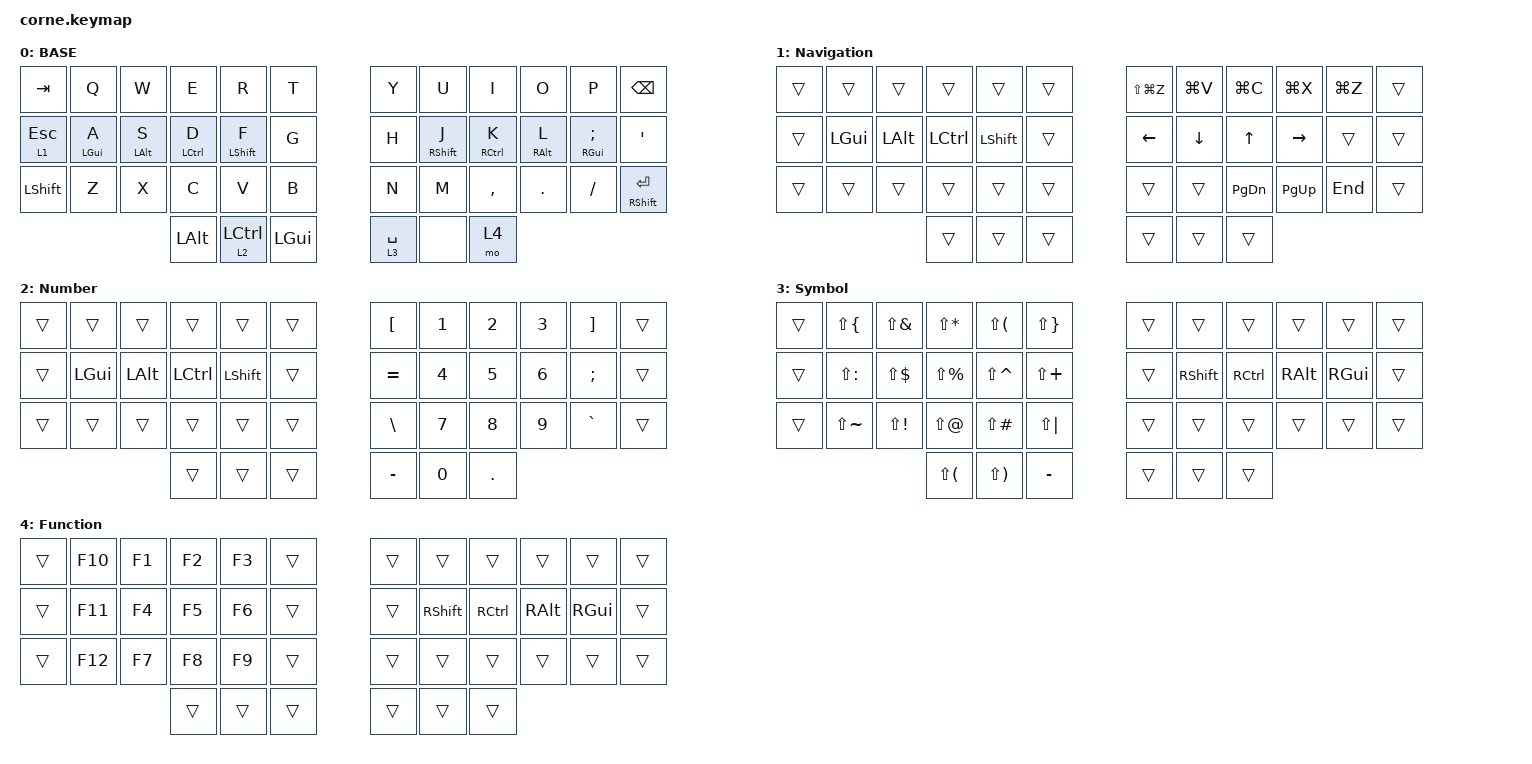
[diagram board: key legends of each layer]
/*
 * Copyright (c) 2020 The ZMK Contributors
 *
 * SPDX-License-Identifier: MIT
 */
//
//   Miryoku-style layout — QWERTY base, vim arrows (HJKL), GACS home row mods
//   Adapted from TOTEM config for Corne (42-key)
//
//   Layer 0: BASE    — QWERTY + home row mods
//   Layer 1: NAV     — vim arrows, clipboard, nav (hold SPACE)
//   Layer 2: NUM     — numpad left hand (hold BSPC)
//   Layer 3: MEDIA   — media, BT, RGB (hold ESC)
//   Layer 4: SYM     — symbols left hand (hold ENTER)
//   Layer 5: FUN     — function keys left hand (hold DEL)
//   Layer 6: MOUSE   — mouse movement, scroll, buttons (hold TAB)

#include <behaviors.dtsi>
#include <dt-bindings/zmk/keys.h>

#define BASE  0
#define NAV   1
#define NUM   2
#define MEDIA 3
#define SYM   4
#define FUN   5
#define MOUSE 6

// Corne key positions (42 keys):
// Row 0:  0  1  2  3  4  5    6  7  8  9  10  11
// Row 1: 12 13 14 15 16 17   18 19 20 21  22  23
// Row 2: 24 25 26 27 28 29   30 31 32 33  34  35
// Thumb:          36 37 38   39 40 41

&mt {
    flavor = "tap-preferred";
    tapping-term-ms = <200>;
    quick-tap-ms = <175>;
    require-prior-idle-ms = <150>;
};

&lt {
    flavor = "balanced";
    tapping-term-ms = <200>;
    quick-tap-ms = <175>;
};

/ {
    combos {
        compatible = "zmk,combos";

        // -- Tier 1: Essential --

        combo_caps_word {
            bindings = <&caps_word>;
            key-positions = <16 19>;        // F + J (index home row)
            timeout-ms = <30>;
            require-prior-idle-ms = <150>;
        };

        combo_esc {
            bindings = <&kp ESC>;
            key-positions = <2 3>;          // W + E
            timeout-ms = <30>;
            require-prior-idle-ms = <150>;
        };

        combo_bspc {
            bindings = <&kp BSPC>;
            key-positions = <8 9>;          // I + O
            timeout-ms = <30>;
            require-prior-idle-ms = <150>;
        };

        combo_del {
            bindings = <&kp DEL>;
            key-positions = <9 10>;         // O + P
            timeout-ms = <30>;
            require-prior-idle-ms = <150>;
        };

        // -- Tier 2: High Value --

        combo_tab {
            bindings = <&kp TAB>;
            key-positions = <14 15>;        // S + D
            timeout-ms = <30>;
            require-prior-idle-ms = <150>;
        };

        combo_enter {
            bindings = <&kp RET>;
            key-positions = <20 21>;        // K + L
            timeout-ms = <30>;
            require-prior-idle-ms = <150>;
        };

        combo_copy {
            bindings = <&kp LG(C)>;
            key-positions = <26 27>;        // X + C
            timeout-ms = <30>;
            require-prior-idle-ms = <150>;
        };

        combo_paste {
            bindings = <&kp LG(V)>;
            key-positions = <27 28>;        // C + V
            timeout-ms = <30>;
            require-prior-idle-ms = <150>;
        };

        combo_cut {
            bindings = <&kp LG(X)>;
            key-positions = <26 28>;        // X + V (skip middle)
            timeout-ms = <30>;
            require-prior-idle-ms = <150>;
        };

        // -- Tier 3: Vertical Symbol Combos --

        combo_minus {
            bindings = <&kp MINUS>;
            key-positions = <19 31>;        // J + M (right index vertical)
            timeout-ms = <40>;
            require-prior-idle-ms = <100>;
        };

        combo_underscore {
            bindings = <&kp UNDER>;
            key-positions = <18 30>;        // H + N (right inner vertical)
            timeout-ms = <40>;
            require-prior-idle-ms = <100>;
        };

        combo_equal {
            bindings = <&kp EQUAL>;
            key-positions = <16 28>;        // F + V (left index vertical)
            timeout-ms = <40>;
            require-prior-idle-ms = <100>;
        };

        combo_grave {
            bindings = <&kp GRAVE>;
            key-positions = <14 26>;        // S + X (left ring vertical)
            timeout-ms = <40>;
            require-prior-idle-ms = <100>;
        };

        combo_semi {
            bindings = <&kp SEMI>;
            key-positions = <21 22>;        // L + ' (right ring+pinky home)
            timeout-ms = <30>;
            require-prior-idle-ms = <150>;
        };

        combo_r-bracket {
            bindings = <&kp RPAR>;
            key-positions = <6 7>;
        };

        combo_r-block {
            bindings = <&kp RIGHT_BRACKET>;
            key-positions = <18 19>;
        };

        combo_r-squirly {
            bindings = <&kp RIGHT_BRACE>;
            key-positions = <30 31>;
        };

        combo_l-bracket {
            bindings = <&kp LPAR>;
            key-positions = <5 4>;
        };

        combo_l-block {
            bindings = <&kp LBKT>;
            key-positions = <17 16>;
        };

        combo_l-squirly {
            bindings = <&kp LBRC>;
            key-positions = <28 29>;
        };

        combo_escape {
            bindings = <&kp ESC>;
            key-positions = <19 20>;
        };

        combo_tilde {
            bindings = <&kp TILDE>;
            key-positions = <21 22>;
        };

        combo_backslash {
            bindings = <&kp BSLH>;
            key-positions = <33 34>;
        };
    };

    macros {
        hyper: hyper {
            compatible = "zmk,behavior-macro";
            #binding-cells = <0>;
            bindings =
                <&macro_press>,
                <&kp LGUI &kp LALT &kp LCTRL &kp LSHFT>,
                <&macro_pause_for_release>,
                <&macro_release>,
                <&kp LGUI &kp LALT &kp LCTRL &kp LSHFT>;
        };
    };

    keymap {
        compatible = "zmk,keymap";

        base_layer {
            display-name = "BASE";
            bindings = <
&kp TAB    &kp Q       &kp W       &kp E         &kp R        &kp T     &kp Y        &kp U        &kp I        &kp O       &kp P               &kp BSPC
&lt 1 ESC  &mt LGUI A  &mt LALT S  &mt LCTRL D   &mt LSHFT F  &kp G     &kp H        &mt RSHFT J  &mt RCTRL K  &mt RALT L  &mt RGUI SEMICOLON  &kp SINGLE_QUOTE
&kp LSHFT  &kp Z       &kp X       &kp C         &kp V        &kp B     &kp N        &kp M        &kp COMMA    &kp DOT     &kp FSLH            &mt RIGHT_SHIFT ENTER
                                   &kp LEFT_ALT  &lt 2 LCTRL  &kp LGUI  &lt 3 SPACE  &none        &mo 4
            >;
        };

        Navigation {
            bindings = <
&trans  &trans    &trans    &trans     &trans     &trans  &kp LS(LG(Z))  &kp LG(V)  &kp LG(C)      &kp LG(X)  &kp LG(Z)  &trans
&trans  &kp LGUI  &kp LALT  &kp LCTRL  &kp LSHFT  &trans  &kp LEFT       &kp DOWN   &kp UP         &kp RIGHT  &trans     &trans
&trans  &trans    &trans    &trans     &trans     &trans  &trans         &trans     &kp PAGE_DOWN  &kp PG_UP  &kp END    &trans
                            &trans     &trans     &trans  &trans         &trans     &trans
            >;
        };

        Number {
            bindings = <
&trans  &trans    &trans    &trans     &trans     &trans  &kp LBKT   &kp N1  &kp N2   &kp N3  &kp RBKT   &trans
&trans  &kp LGUI  &kp LALT  &kp LCTRL  &kp LSHFT  &trans  &kp EQUAL  &kp N4  &kp N5   &kp N6  &kp SEMI   &trans
&trans  &trans    &trans    &trans     &trans     &trans  &kp BSLH   &kp N7  &kp N8   &kp N9  &kp GRAVE  &trans
                            &trans     &trans     &trans  &kp MINUS  &kp N0  &kp DOT
            >;
        };

        Symbol {
            bindings = <
&trans  &kp LS(LBRC)   &kp LS(AMPS)  &kp LS(STAR)   &kp LS(LPAR)   &kp LS(RBRC)  &trans  &trans     &trans     &trans    &trans    &trans
&trans  &kp LS(COLON)  &kp LS(DLLR)  &kp LS(PRCNT)  &kp LS(CARET)  &kp LS(PLUS)  &trans  &kp RSHFT  &kp RCTRL  &kp RALT  &kp RGUI  &trans
&trans  &kp LS(TILDE)  &kp LS(EXCL)  &kp LS(AT)     &kp LS(POUND)  &kp LS(PIPE)  &trans  &trans     &trans     &trans    &trans    &trans
                                     &kp LS(LPAR)   &kp LS(RPAR)   &kp MINUS     &trans  &trans     &trans
            >;
        };

        Function {
            bindings = <
&trans  &kp F10  &kp F1  &kp F2  &kp F3  &trans  &trans  &trans     &trans     &trans    &trans    &trans
&trans  &kp F11  &kp F4  &kp F5  &kp F6  &trans  &trans  &kp RSHFT  &kp RCTRL  &kp RALT  &kp RGUI  &trans
&trans  &kp F12  &kp F7  &kp F8  &kp F9  &trans  &trans  &trans     &trans     &trans    &trans    &trans
                         &trans  &trans  &trans  &trans  &trans     &trans
            >;
        };
    };
};
